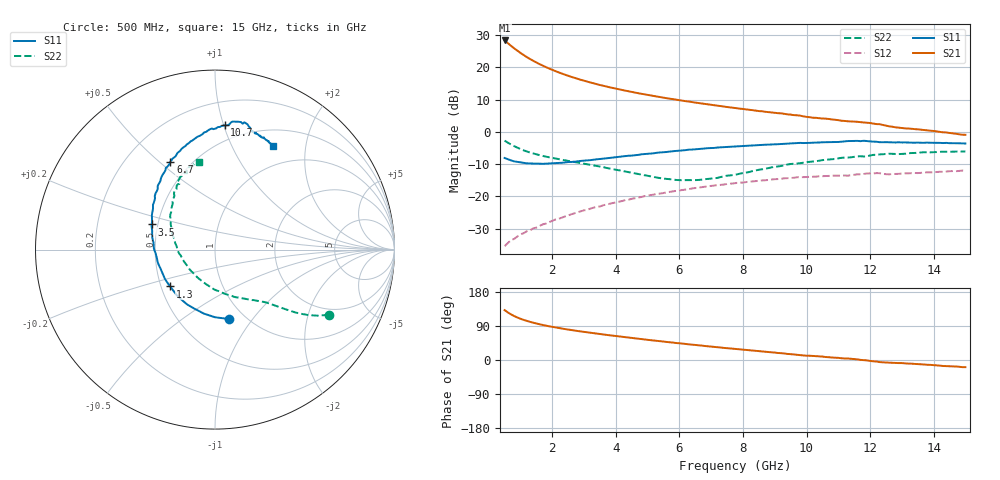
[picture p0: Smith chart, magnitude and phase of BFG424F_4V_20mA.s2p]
! Filename BFG424F_4V_20mA.prm
! Simulation_Values
! Created	by	janssen	on	nov	2006
!	Column ranking S11, S21,S12,S22 both magnitude and phase.
!	VCE	=	4	V,	IC	=	20	mA
!	Common	Emitter	S-Parameters
#	GHZ	S	MA	R	50
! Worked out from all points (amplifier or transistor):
!   146 points, 500 MHz to 15 GHz, reference 50 ohm
!   highest |S21| = 28.3 dB at 500 MHz (marker M1)
!   |S21| within 3 dB of that: start of sweep to 877.2 MHz
!   unconditionally stable (mu >= 1): 1.701 GHz to end of sweep
!   at 2.9 GHz: K = 1.12, MAG = 18.2 dB, |S12| = -24.6 dB
!   at 7.8 GHz: K = 1.13, MAG = 9.4 dB, |S12| = -15.8 dB
!   at 15 GHz: K = 1.36, MAG = 2.0 dB, |S12| = -12.0 dB
!   S11 on the Smith chart (normalised r, x): 500 MHz: 0.84, -0.77; 1.3 GHz: 0.56, -0.26; 3.5 GHz: 0.46, +0.15; 6.7 GHz: 0.39, +0.54; 10.7 GHz: 0.38, +1.01; 15 GHz: 0.71, +1.46
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0.5  0.394 -78.9  25.99 131.6  0.017 65.5  0.731 -29.8
0.6  0.377 -90.0  23.6 125.6  0.019 63.4  0.681 -32.7
0.7  0.362 -99.9  21.5 120.4  0.021 63.2  0.638 -34.9
0.8  0.349 -108.8  19.64 116.0  0.022 62.8  0.601 -36.6
0.9  0.343 -116.7  18.05 112.2  0.024 62.6  0.569 -38.0
1  0.336 -123.5  16.66 108.8  0.026 62.8  0.541 -39.1
1.1  0.332 -129.8  15.43 105.8  0.027 63.3  0.517 -40.1
1.3  0.324 -140.7  13.41 100.7  0.03 64.3  0.478 -41.8
1.4  0.323 -145.6  12.58 98.4  0.032 64.8  0.463 -42.6
1.6  0.321 -153.9  11.19 94.3  0.035 65.6  0.436 -44.1
1.9  0.325 -164.8  9.555 89.0  0.04 67.1  0.404 -46.5
2.4  0.337 -179.1  7.672 81.7  0.049 68.0  0.363 -51.3
3  0.358 167.6  6.185 74.1  0.061 68.6  0.321 -58.5
3.5  0.38 158.4  5.313 68.5  0.07 68.1  0.291 -66.0
4.4  0.427 144.0  4.242 59.1  0.089 66.5  0.237 -82.9
5.4  0.48 131.2  3.456 49.5  0.111 62.8  0.192 -110.0
6.7  0.548 117.0  2.744 38.0  0.139 57.6  0.182 -155.0
7.8  0.597 107.0  2.326 29.0  0.162 52.5  0.219 173.0
10.2  0.679 89.1  1.655 10.8  0.202 39.9  0.348 132.8
10.7  0.695 85.6  1.583 7.4  0.208 38.0  0.373 127.3
12.6  0.691 72.4  1.217 -7.0  0.22 28.9  0.459 112.1
15  0.661 60.8  0.901 -18.9  0.25 20.3  0.498 100.5
